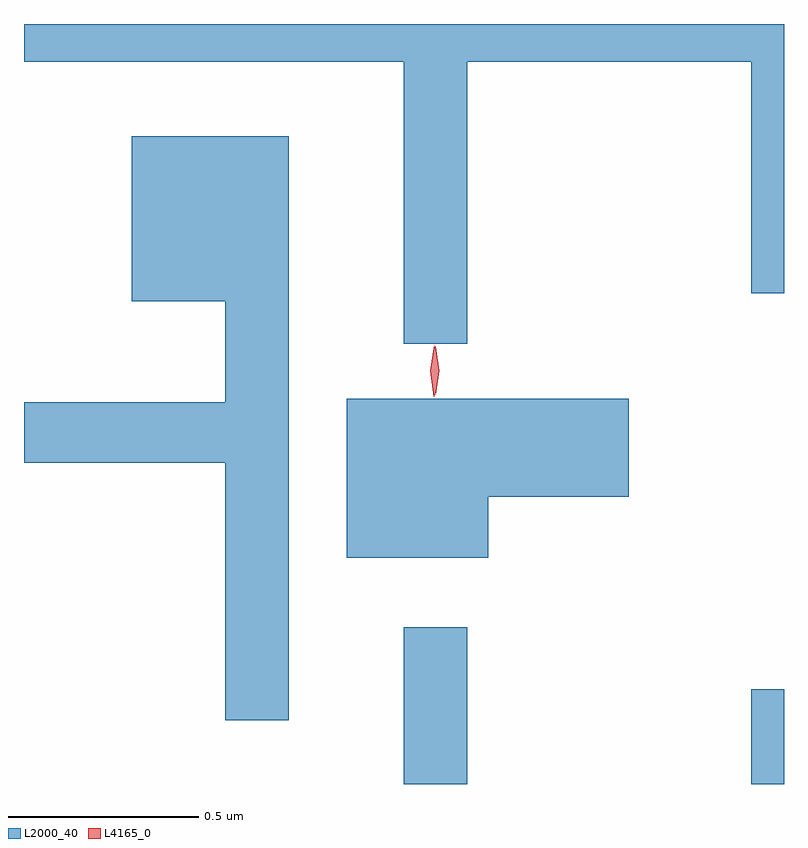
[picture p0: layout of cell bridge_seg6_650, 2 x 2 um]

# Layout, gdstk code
import gdstk
lib = gdstk.Library(unit=1e-6, precision=1e-09)
def R(c, l, rs):  # rectangles x0, y0, x1, y1
    for r in rs: c.add(gdstk.rectangle(r[:2], r[2:], *l))
def P(c, l, *ps):  # polygons
    for p in ps: c.add(gdstk.Polygon(p, *l))
L2000_40 = (2000, 40)
L4165_0 = (4165, 0)

bridge_seg6_650 = lib.new_cell('bridge_seg6_650')
R(bridge_seg6_650, L2000_40, [(573.801,1614.735,573.969,1615.148), (574.716,1614.735,574.802,1614.984)])
P(bridge_seg6_650, L2000_40, [(573.969,1616.636),(574.716,1616.636),(574.716,1616.026),(574.802,1616.026),(574.802,1616.735),(572.802,1616.735),(572.802,1616.636),(573.801,1616.636),(573.801,1615.893),(573.969,1615.893)],
  [(573.499,1616.439),(573.086,1616.439),(573.086,1616.006),(573.331,1616.006),(573.331,1615.739),(572.802,1615.739),(572.802,1615.581),(573.331,1615.581),(573.331,1614.903),(573.499,1614.903)],
  [(574.024,1615.491),(574.394,1615.491),(574.394,1615.749),(573.651,1615.749),(573.651,1615.331),(574.024,1615.331)])
P(bridge_seg6_650, L4165_0, [(573.885,1615.76),(573.885,1615.76),(573.875,1615.823),(573.884,1615.886),(573.885,1615.887),(573.885,1615.886),(573.895,1615.823),(573.886,1615.76)],
  [(573.88,1615.754),(573.88,1615.754),(573.871,1615.822),(573.881,1615.89),(573.882,1615.89),(573.882,1615.89),(573.891,1615.822),(573.881,1615.754)])

lib.write_gds('bridge_seg6_650.gds')
